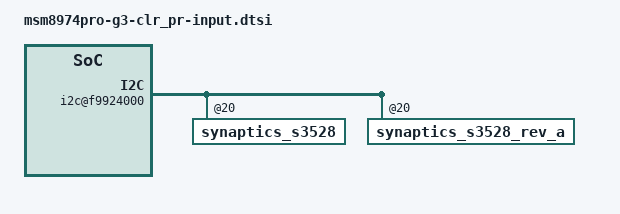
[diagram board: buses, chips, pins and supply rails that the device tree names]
/* Copyright (c) 2012, Code Aurora Forum. All rights reserved.
 *
 * This program is free software; you can redistribute it and/or modify
 * it under the terms of the GNU General Public License version 2 and
 * only version 2 as published by the Free Software Foundation.
 *
 * This program is distributed in the hope that it will be useful,
 * but WITHOUT ANY WARRANTY; without even the implied warranty of
 * MERCHANTABILITY or FITNESS FOR A PARTICULAR PURPOSE.  See the
 * GNU General Public License for more details.
 */


	&soc {
		 i2c@f9924000 {
		       	rmi_s3528@20  {
				status = "disable";
			};

			synaptics_s3528@20 {
				status = "ok";
				revision = "evb1...evb2";
				fw_image_s3528_a0 = "synaptics/g3_clr_pr/PLG313-V1.05-PR1623442-DS5.5.1.0.1054_30055185.img";
				fw_image_s3528_a1 = "synaptics/g3_clr_pr/PLG313-V1.17-PR1644588-DS5.5.1.0.1066_30055191_S3528A1.img";
				fw_image_s3528_a1_suntel = "synaptics/g3_clr_pr/PLG391-V1.05-PR1653201-DS5.5.1.0.1066_10055185_S3528A1.img";
				fw_image_s3528_a1_factory = "synaptics/g3_clr_pr/PLG313-V1.17-PR1644588-DS5.5.1.0.1066_30055191_S3528A1.img";
				fw_image_s3621 = "synaptics/g3_clr_pr/PLG298-F004.img";
				panel_spec = "synaptics/g3_clr_pr/g3_clr_pr_limit.txt";
			};
			
			synaptics_s3528_rev_a@20 {
				status = "ok";
				revision = "rev_a...";
				fw_image_s3528_a0 = "synaptics/g3_clr_pr/PLG313-V1.05-PR1623442-DS5.5.1.0.1054_30055185.img";
				fw_image_s3528_a1 = "synaptics/g3_clr_pr/PLG313-V1.17-PR1644588-DS5.5.1.0.1066_30055191_S3528A1.img";
				fw_image_s3528_a1_suntel = "synaptics/g3_clr_pr/PLG391-V1.05-PR1653201-DS5.5.1.0.1066_10055185_S3528A1.img";
				fw_image_s3528_a1_factory = "synaptics/g3_clr_pr/PLG313-V1.17-PR1644588-DS5.5.1.0.1066_30055191_S3528A1.img";
				fw_image_s3621 = "synaptics/g3_clr_pr/PLG298-F004.img";
				panel_spec = "synaptics/g3_clr_pr/g3_clr_pr_limit.txt";
		};
	};
};
